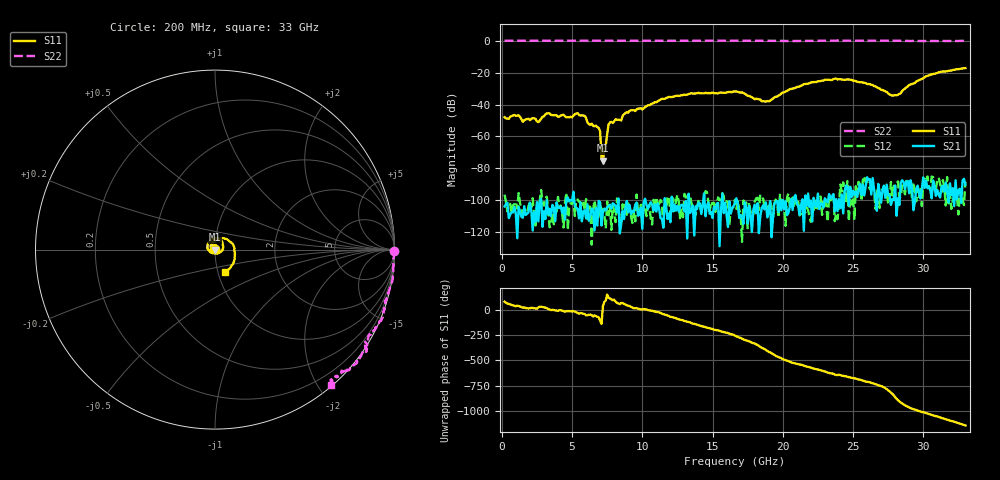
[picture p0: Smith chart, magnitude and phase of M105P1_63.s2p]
# GHZ S RI R 50
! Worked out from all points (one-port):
!   329 points, 200 MHz to 33 GHz, reference 50 ohm
!   lowest |S11| = -75.2 dB at 7.2 GHz (marker M1), VSWR 1.00, Z = 50 + j0.0117 ohm
!   |S11| at or under -10 dB: start of sweep to end of sweep
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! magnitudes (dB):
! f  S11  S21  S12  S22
! 200 MHz  -48.0  -103.9  -96.5  0.0
! 1.2 GHz  -46.8  -104.1  -95.5  0.0
! 1.5 GHz  -50.8  -111.0  -111.6  0.0
! 2.2 GHz  -48.6  -119.0  -98.8  0.0
! 2.6 GHz  -51.0  -113.3  -106.2  0.0
! 3.3 GHz  -45.5  -108.9  -106.0  0.0
! 5.7 GHz  -46.7  -113.2  -104.4  0.0
! 6.9 GHz  -54.7  -100.5  -111.5  0.0
! 7 GHz  -57.0  -101.2  -102.5  0.0
! 7.1 GHz  -73.5  -115.9  -105.9  0.0
! 7.2 GHz  -75.2  -107.1  -105.9  0.0
! 7.6 GHz  -52.5  -103.6  -109.5  0.0
! 7.7 GHz  -51.2  -102.9  -102.9  0.0
! 11.2 GHz  -37.4  -105.3  -102.0  -0.1
! 16.6 GHz  -31.8  -101.8  -99.6  0.0
! 19 GHz  -38.0  -107.7  -102.6  -0.1
! 22.1 GHz  -26.0  -113.3  -106.3  -0.2
! 24.9 GHz  -24.5  -98.1  -102.6  0.0
! 27.6 GHz  -33.7  -97.1  -100.6  0.0
! 28.2 GHz  -33.9  -98.8  -88.1  0.0
! 30.3 GHz  -22.0  -92.5  -85.1  -0.1
! 33 GHz  -17.2  -90.3  -88.3  -0.1
